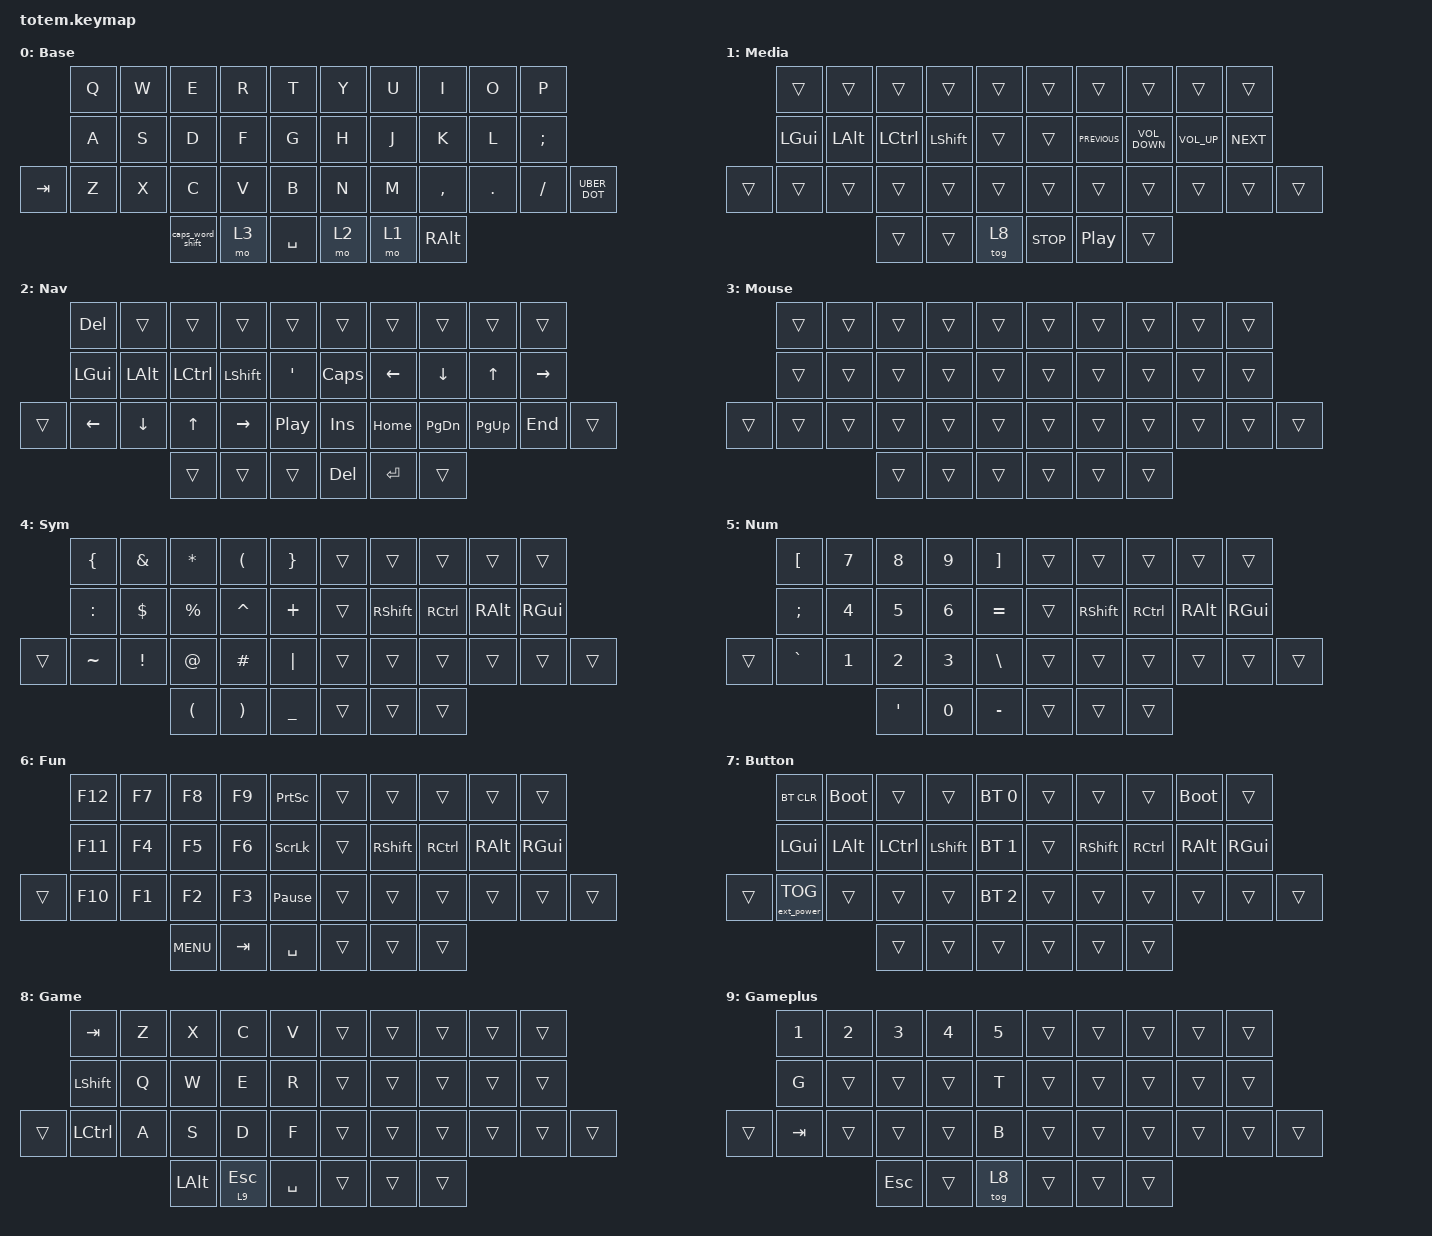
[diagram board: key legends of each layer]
//
//                                                        ▀▀▀▀▀     ▀▀▀▀▀          ▀▀█▀▀
//                                                        ▄▀▀▀▄  ▄  ▄▀▀▀▄  ▄  ▄▀▀▀▄  █  ▄▀▀▀▄
//                                                        █   █  █  █   █  █  █   █  █  █   █
//                                                         ▀▀▀   █   ▀▀▀   █   ▀▀▀   ▀   ▀▀▀
//                                                               █      ▄▄▄█▄▄▄    █   █  
//                                                               ▀      █  █  █     █▄█
//                                                             ▀▀▀▀▀    █  █  █      ▀
//                                                                      ▀  ▀  ▀
//
// ▄▄▄▄▄▄▄▄▄▄▄▄▄▄▄▄▄▄▄▄▄▄▄▄▄▄▄▄▄▄▄▄▄▄▄▄▄▄▄▄▄▄▄▄▄▄▄▄▄▄▄▄▄▄▄▄▄▄▄▄▄▄▄▄▄▄▄▄▄▄▄▄▄▄▄▄▄▄▄▄▄▄▄▄▄▄▄▄▄▄▄▄▄▄▄▄▄▄▄▄▄▄▄▄▄▄▄▄▄▄▄▄▄▄▄▄▄▄▄▄▄▄▄▄▄▄▄▄▄▄▄▄▄▄▄▄▄▄▄▄▄▄▄▄▄▄▄▄▄

#include <behaviors.dtsi>
#include <dt-bindings/zmk/keys.h>
#include <dt-bindings/zmk/bt.h>
#include <dt-bindings/zmk/outputs.h>
#include <dt-bindings/zmk/ext_power.h>

#define Base        0
#define Media       1
#define Nav         2
#define Mouse       3
#define Sym         4
#define Num         5
#define Fun         6
#define Button      7
#define Game        8
#define Gameplus    9

&mt {
    quick-tap-ms = <100>;
    global-quick-tap;
    flavor = "tap-preferred";
    tapping-term-ms = <170>;
};

&lt {
    tapping-term-ms = <240>;
    flavor = "balanced";
    quick-tap-ms = <150>;
};

/ {

    behaviors {
        hm: homerow_mods {
            compatible = "zmk,behavior-hold-tap";
            label = "HOMEROW_MODS";
            #binding-cells = <2>;
            flavor = "tap-preferred";
            tapping-term-ms = <240>;
            quick-tap-ms = <150>;
            global-quick-tap;
            bindings =
                <&kp>,
                <&kp>;
        };

        KP_DOT_SHIFT_COMMA: KP_DOT_SHIFT_COMMA {
            compatible = "zmk,behavior-mod-morph";
            label = "KP_DOT_SHIFT_COMMA";
            bindings = <&kp RBKT>, <&kp LBKT>;

            #binding-cells = <0>;
            mods = <(MOD_LSFT|MOD_RSFT)>;
        };

        KP_COLON_SHIFT_SEMICOLON: KP_COLON_SHIFT_SEMICOLON {
            compatible = "zmk,behavior-mod-morph";
            label = "KP_COLON_SHIFT_SEMICOLON";
            bindings = <&kp LS(RBKT)>, <&kp LS(LBKT)>;

            #binding-cells = <0>;
            mods = <(MOD_LSFT|MOD_RSFT)>;
        };

        UBER_DOT: UBER_DOT {
            compatible = "zmk,behavior-mod-morph";
            label = "UBERDOT";
            bindings = <&KP_DOT_SHIFT_COMMA>, <&KP_COLON_SHIFT_SEMICOLON>;

            #binding-cells = <0>;
            mods = <(MOD_LALT|MOD_RALT)>;
        };

        caps_word_shift: caps_word_shift {
            compatible = "zmk,behavior-tap-dance";
            label = "CAPS_WORD_SHIFT";
            #binding-cells = <0>;
            bindings = <&kp LEFT_SHIFT>, <&caps_word>;
        };
    };

    keymap {
        compatible = "zmk,keymap";

    Base {
        label = "Base";
        bindings = <
         &kp Q  &kp W  &kp E             &kp R  &kp T        &kp Y  &kp U  &kp I      &kp O    &kp P
         &kp A  &kp S  &kp D             &kp F  &kp G        &kp H  &kp J  &kp K      &kp L    &kp SEMI
&kp TAB  &kp Z  &kp X  &kp C             &kp V  &kp B        &kp N  &kp M  &kp COMMA  &kp DOT  &kp FSLH  &UBER_DOT
                       &caps_word_shift  &mo 3  &kp SPACE    &mo 2  &mo 1  &kp RALT
            >;
    };

    Media {
        label = "Media";
        bindings = <
                &trans    &trans    &trans     &trans      &trans               &trans            &trans             &trans           &trans      &trans  
                &kp LGUI  &kp LALT  &kp LCTRL  &kp LSHIFT  &trans               &trans    &kp C_PREVIOUS  &kp C_VOLUME_DOWN  &kp C_VOLUME_UP  &kp C_NEXT  
        &trans  &trans    &trans    &trans     &trans      &trans               &trans            &trans             &trans           &trans      &trans  &trans
                                    &trans     &trans      &tog 8           &kp C_STOP  &kp C_PLAY_PAUSE             &trans  
        >;
    };

    Nav {
        label = "Nav";
        bindings = <
                &kp DELETE    &trans    &trans     &trans      &trans                       &trans     &trans         &trans       &trans       &trans  
                &kp LEFT_GUI  &kp LALT  &kp LCTRL  &kp LSHIFT  &kp SQT                    &kp CAPS   &kp LEFT       &kp DOWN       &kp UP    &kp RIGHT  
        &trans  &kp LEFT      &kp DOWN  &kp UP     &kp RIGHT   &kp C_PLAY_PAUSE         &kp INSERT   &kp HOME  &kp PAGE_DOWN  &kp PAGE_UP      &kp END  &trans
                                        &trans     &trans      &trans                   &kp DELETE  &kp ENTER         &trans
        >;
    };

    Mouse {
        label = "Mouse";
        bindings = <
                &trans  &trans  &trans  &trans  &trans          &trans  &trans  &trans  &trans  &trans  
                &trans  &trans  &trans  &trans  &trans          &trans  &trans  &trans  &trans  &trans  
        &trans  &trans  &trans  &trans  &trans  &trans          &trans  &trans  &trans  &trans  &trans  &trans
                                &trans  &trans  &trans          &trans  &trans  &trans
        >;
    };

    Sym {
        label = "Sym";
        bindings = <
                &kp LEFT_BRACE  &kp AMPERSAND  &kp ASTERISK         &kp LEFT_PARENTHESIS   &kp RIGHT_BRACE       &trans      &trans     &trans    &trans    &trans  
                &kp COLON       &kp DOLLAR     &kp PERCENT          &kp CARET              &kp PLUS              &trans  &kp RSHIFT  &kp RCTRL  &kp RALT  &kp RGUI  
        &trans  &kp TILDE       &kp EXCL       &kp AT               &kp HASH               &kp PIPE              &trans      &trans     &trans    &trans    &trans  &trans
                                              &kp LEFT_PARENTHESIS  &kp RIGHT_PARENTHESIS  &kp UNDERSCORE        &trans      &trans     &trans   
        >;
    };

    Num {
        label = "Num";
        bindings = <
                &kp LEFT_BRACKET  &kp NUMBER_7  &kp NUMBER_8  &kp NUMBER_9  &kp RIGHT_BRACKET       &trans      &trans     &trans    &trans    &trans  
                &kp SEMICOLON     &kp NUMBER_4  &kp NUMBER_5  &kp NUMBER_6  &kp EQUAL               &trans  &kp RSHIFT  &kp RCTRL  &kp RALT  &kp RGUI  
        &trans  &kp GRAVE         &kp NUMBER_1  &kp NUMBER_2  &kp NUMBER_3  &kp BACKSLASH           &trans      &trans     &trans    &trans    &trans  &trans
                                                &kp SQT       &kp NUMBER_0  &kp MINUS               &trans      &trans     &trans
        >;
    };

    Fun {
        label = "Fun";
        bindings = <
                &kp F12     &kp F7   &kp F8      &kp F9   &kp PRINTSCREEN          &trans      &trans     &trans    &trans    &trans  
                &kp F11     &kp F4   &kp F5      &kp F6   &kp SCROLLLOCK           &trans  &kp RSHIFT  &kp RCTRL  &kp RALT  &kp RGUI  
        &trans  &kp F10     &kp F1   &kp F2      &kp F3   &kp PAUSE_BREAK          &trans      &trans     &trans    &trans    &trans  &trans
                                     &kp C_MENU  &kp TAB  &kp SPACE                &trans      &trans     &trans
        >;
    };

    Button {
        label = "Button";
        bindings = <
                &bt BT_CLR         &bootloader  &trans     &trans      &bt BT_SEL 0         &trans      &trans     &trans  &bootloader    &trans  
                &kp LGUI           &kp LALT     &kp LCTRL  &kp LSHIFT  &bt BT_SEL 1         &trans  &kp RSHIFT  &kp RCTRL     &kp RALT  &kp RGUI  
        &trans  &ext_power EP_TOG  &trans       &trans     &trans      &bt BT_SEL 2         &trans      &trans     &trans       &trans    &trans  &trans
                                                &trans     &trans      &trans               &trans      &trans     &trans
        >;
    };

    Game {
        label = "Game";
        bindings = <
                &kp TAB         &kp Z  &kp X       &kp C         &kp V            &trans  &trans  &trans  &trans  &trans  
                &kp LEFT_SHIFT  &kp Q  &kp W       &kp E         &kp R            &trans  &trans  &trans  &trans  &trans  
        &trans  &kp LCTRL       &kp A  &kp S       &kp D         &kp F            &trans  &trans  &trans  &trans  &trans  &trans
                                       &kp LALT    &lt 9 ESCAPE  &kp SPACE        &trans  &trans  &trans
        >;
    };

    Gameplus {
        label = "Gameplus";
        bindings = <
                &kp NUMBER_1  &kp NUMBER_2  &kp NUMBER_3  &kp NUMBER_4  &kp NUMBER_5        &trans  &trans  &trans  &trans  &trans  
                &kp G         &trans        &trans        &trans        &kp T               &trans  &trans  &trans  &trans  &trans  
        &trans  &kp TAB       &trans        &trans        &trans        &kp B               &trans  &trans  &trans  &trans  &trans  &trans
                                            &kp ESCAPE    &trans        &tog 8              &trans  &trans  &trans
        >;
    };
  };
};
